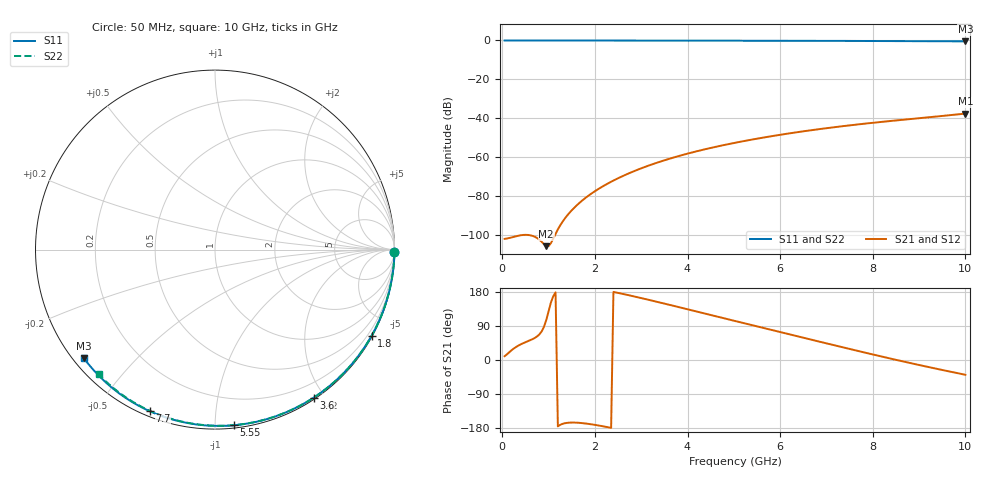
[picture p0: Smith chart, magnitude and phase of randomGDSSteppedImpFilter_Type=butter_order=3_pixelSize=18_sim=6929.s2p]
! freq	dB(S11)	phase(S11)	dB(S12)	phase(S12)
!  dB(S21)	phase(S21)	dB(S22)	phase(S22)
!S-par simulation data
#  GHz  S  DB  R 50
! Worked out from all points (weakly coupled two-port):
!   200 points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, 50 MHz to 10 GHz, reference 50 ohm
!   highest |S21| = -37.57 dB at 10 GHz (marker M1); lowest = -105.7 dB at 950 MHz (marker M2)
!   lowest |S11| = -0.5 dB at 10 GHz (marker M3), VSWR 38.01, Z = 1.49 - j18 ohm
!   |S11| at or under -10 dB: nowhere
!   |S22| runs from -0.4 to 0.0 dB; largest |S21 - S12| = 0
!   S11 on the Smith chart (normalised r, x): 50 MHz: open; 1.8 GHz: 0.03, -3.89; 3.6 GHz: 0.02, -1.87; 5.55 GHz: 0.02, -1.11; 7.7 GHz: 0.02, -0.67; 10 GHz: 0.03, -0.36
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0.05  -0.00 -0.8  -101.93 10.0  -101.93 10.0  -0.00 -0.8
0.5  -0.01 -8.1  -99.86 47.0  -99.86 47.0  -0.01 -7.7
0.95  -0.02 -15.4  -105.68 105.6  -105.68 105.6  -0.02 -14.5
1.75  -0.04 -28.1  -81.75 -166.9  -81.75 -166.9  -0.03 -26.5
1.8  -0.04 -28.8  -80.81 -167.6  -80.81 -167.6  -0.03 -27.3
1.85  -0.04 -29.6  -79.92 -168.4  -79.92 -168.4  -0.04 -28.0
2.15  -0.04 -34.3  -75.22 -174.3  -75.22 -174.3  -0.04 -32.4
2.35  -0.05 -37.4  -72.57 -179.1  -72.57 -179.1  -0.05 -35.4
2.55  -0.05 -40.5  -70.21 175.8  -70.21 175.8  -0.05 -38.3
2.95  -0.06 -46.6  -66.14 164.9  -66.14 164.9  -0.06 -44.1
3.4  -0.07 -53.3  -62.33 151.8  -62.33 151.8  -0.07 -50.5
3.6  -0.08 -56.3  -60.83 145.9  -60.83 145.9  -0.07 -53.3
3.9  -0.08 -60.7  -58.78 136.9  -58.78 136.9  -0.08 -57.5
4.3  -0.09 -66.5  -56.33 124.9  -56.33 124.9  -0.09 -63.0
5.05  -0.12 -77.1  -52.45 102.2  -52.45 102.2  -0.11 -73.0
5.55  -0.14 -83.9  -50.25 87.2  -50.25 87.2  -0.13 -79.6
6.1  -0.16 -91.3  -48.09 70.7  -48.09 70.7  -0.15 -86.6
6.7  -0.19 -99.2  -46.01 52.8  -46.01 52.8  -0.18 -94.1
7.7  -0.26 -112.0  -43.07 23.3  -43.07 23.3  -0.24 -106.2
8.35  -0.31 -120.1  -41.44 4.6  -41.44 4.6  -0.29 -113.9
9.2  -0.38 -130.6  -39.48 -18.5  -39.48 -18.5  -0.36 -123.8
10  -0.46 -140.4  -37.57 -39.0  -37.57 -39.0  -0.45 -133.0
